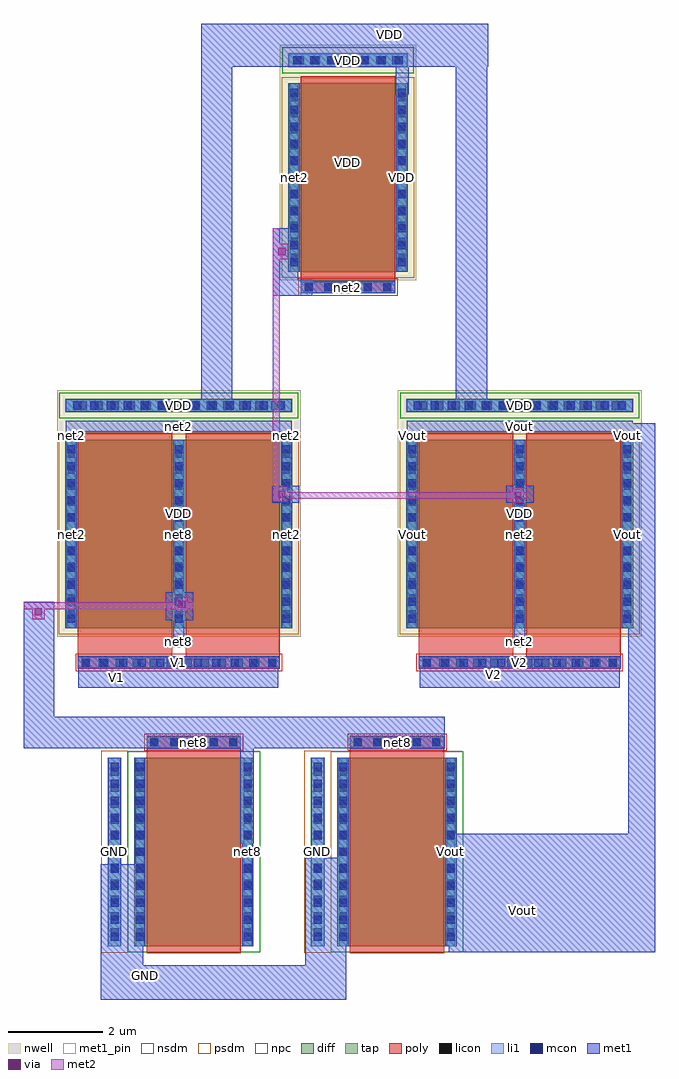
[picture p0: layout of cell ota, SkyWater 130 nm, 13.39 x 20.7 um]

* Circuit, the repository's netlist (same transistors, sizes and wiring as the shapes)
** sch_path: /foss/designs/ota.sch
.subckt ota VDD V2 V1 Vout GND
*.PININFO VDD:B GND:B V2:I V1:I Vout:O
XM1 net2 V1 net1 VDD sky130_fd_pr__pfet_01v8 L=2 W=8 nf=2 m=1
XM3 net2 net2 GND GND sky130_fd_pr__nfet_01v8 L=2 W=4 nf=1 m=1
XM4 Vout net2 GND GND sky130_fd_pr__nfet_01v8 L=2 W=4 nf=1 m=1
XM2 Vout V2 net1 VDD sky130_fd_pr__pfet_01v8 L=2 W=8 nf=2 m=1
XM5 net1 net1 VDD VDD sky130_fd_pr__pfet_01v8 L=2 W=4 nf=1 m=1
**** begin user architecture code

**** end user architecture code
.ends

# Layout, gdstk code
import gdstk
lib = gdstk.Library(unit=1e-6, precision=1e-09)
def R(c, l, rs):  # rectangles x0, y0, x1, y1
    for r in rs: c.add(gdstk.rectangle(r[:2], r[2:], *l))
def A(c, l, x, y, w, h, nx, ny, dx, dy):  # array of equal rectangles
    R(c, l, [(x+i*dx, y+j*dy, x+i*dx+w, y+j*dy+h) for i in range(nx) for j in range(ny)])
nwell = (64, 20)
diff = (65, 20)
tap = (65, 44)
poly = (66, 20)
licon = (66, 44)
li1 = (67, 20)
mcon = (67, 44)
met1_pin = (68, 16)
met1 = (68, 20)
via = (68, 44)
met2 = (69, 20)
nsdm = (93, 44)
psdm = (94, 20)
npc = (95, 20)

m1m2_c_cdns_778492042130 = lib.new_cell('M1M2_C_CDNS_778492042130')
R(m1m2_c_cdns_778492042130, met1, [(-0.13,-0.16,0.13,0.16)])
R(m1m2_c_cdns_778492042130, via, [(-0.075,-0.075,0.075,0.075)])
R(m1m2_c_cdns_778492042130, met2, [(-0.13,-0.16,0.13,0.16)])

ota = lib.new_cell('ota')
R(ota, nwell, [(1.19,7.905,6.36,13.135), (8.415,7.905,13.585,13.135), (5.915,15.465,8.805,20.455)])
R(ota, diff, [(2.825,1.345,3.09,5.345), (3.09,1.345,5.09,5.345), (5.09,1.345,5.355,5.345), (7.135,1.345,7.4,5.345), (7.4,1.345,9.4,5.345), (9.4,1.345,9.665,5.345), (1.37,8.085,1.635,12.085), (1.635,8.085,3.635,12.085), (3.635,8.085,3.915,12.085), (3.915,8.085,5.915,12.085), (5.915,8.085,6.18,12.085), (8.595,8.085,8.86,12.085), (8.86,8.085,10.86,12.085), (10.86,8.085,11.14,12.085), (11.14,8.085,13.14,12.085), (13.14,8.085,13.405,12.085), (6.095,15.645,6.36,19.645), (6.36,15.645,8.36,19.645), (8.36,15.645,8.625,19.645)])
R(ota, tap, [(2.265,1.345,2.555,5.345), (6.575,1.345,6.865,5.345), (1.37,12.665,6.18,12.955), (8.595,12.665,13.405,12.955), (6.095,19.985,8.625,20.275)])
R(ota, poly, [(3.09,1.195,5.09,1.345), (7.4,1.195,9.4,1.345), (3.09,1.345,5.09,5.345), (7.4,1.345,9.4,5.345), (3.09,5.345,5.09,5.535), (7.4,5.345,9.4,5.535), (3.09,5.535,5.09,5.805), (7.4,5.535,9.4,5.805), (1.635,7.225,5.915,7.495), (8.86,7.225,13.14,7.495), (1.635,7.495,3.635,8.085), (3.915,7.495,5.915,8.085), (8.86,7.495,10.86,8.085), (11.14,7.495,13.14,8.085), (1.635,8.085,3.635,12.085), (3.915,8.085,5.915,12.085), (8.86,8.085,10.86,12.085), (11.14,8.085,13.14,12.085), (1.635,12.085,3.635,12.235), (3.915,12.085,5.915,12.235), (8.86,12.085,10.86,12.235), (11.14,12.085,13.14,12.235), (6.36,15.185,8.36,15.455), (6.36,15.455,8.36,15.645), (6.36,15.645,8.36,19.645), (6.36,19.645,8.36,19.795)])
A(ota, licon, 2.325, 1.56, 0.17, 0.17, 1, 11, 0, 0.34)
A(ota, licon, 2.865, 1.56, 0.17, 0.17, 1, 11, 0, 0.34)
A(ota, licon, 5.145, 1.56, 0.17, 0.17, 1, 11, 0, 0.34)
A(ota, licon, 6.635, 1.56, 0.17, 0.17, 1, 11, 0, 0.34)
A(ota, licon, 7.175, 1.56, 0.17, 0.17, 1, 11, 0, 0.34)
A(ota, licon, 9.455, 1.56, 0.17, 0.17, 1, 11, 0, 0.34)
A(ota, licon, 3.17, 5.585, 0.17, 0.17, 3, 1, 0.42, 0)
A(ota, licon, 7.48, 5.585, 0.17, 0.17, 3, 1, 0.42, 0)
A(ota, licon, 1.715, 7.275, 0.17, 0.17, 10, 1, 0.36, 0)
A(ota, licon, 8.94, 7.275, 0.17, 0.17, 10, 1, 0.36, 0)
A(ota, licon, 1.41, 8.3, 0.17, 0.17, 3, 11, 2.28, 0.34)
A(ota, licon, 8.635, 8.3, 0.17, 0.17, 3, 11, 2.28, 0.34)
A(ota, licon, 1.65, 12.725, 0.17, 0.17, 13, 1, 0.34, 0)
A(ota, licon, 8.875, 12.725, 0.17, 0.17, 13, 1, 0.34, 0)
A(ota, licon, 6.44, 15.235, 0.17, 0.17, 3, 1, 0.42, 0)
A(ota, licon, 6.135, 15.86, 0.17, 0.17, 1, 11, 0, 0.34)
A(ota, licon, 8.415, 15.86, 0.17, 0.17, 1, 11, 0, 0.34)
A(ota, licon, 6.255, 20.045, 0.17, 0.17, 7, 1, 0.34, 0)
R(ota, licon, [(4.425,5.585,4.595,5.755), (4.84,5.585,5.01,5.755), (8.735,5.585,8.905,5.755), (9.15,5.585,9.32,5.755), (5.31,7.275,5.48,7.445), (5.665,7.275,5.835,7.445), (12.535,7.275,12.705,7.445), (12.89,7.275,13.06,7.445), (7.695,15.235,7.865,15.405), (8.11,15.235,8.28,15.405)])
A(ota, li1, 1.41, 8.085, 0.17, 4, 3, 1, 2.28, 0)
A(ota, li1, 8.635, 8.085, 0.17, 4, 3, 1, 2.28, 0)
R(ota, li1, [(2.275,1.345,2.545,5.345), (2.865,1.345,3.035,5.345), (5.145,1.345,5.315,5.345), (6.585,1.345,6.855,5.345), (7.175,1.345,7.345,5.345), (9.455,1.345,9.625,5.345), (3.09,5.555,5.09,5.785), (7.4,5.555,9.4,5.785), (1.635,7.245,5.915,7.475), (8.86,7.245,13.14,7.475), (1.38,12.675,6.17,12.945), (8.605,12.675,13.395,12.945), (6.36,15.205,8.36,15.435), (6.135,15.645,6.305,19.645), (8.415,15.645,8.585,19.645), (6.105,19.995,8.615,20.265)])
A(ota, mcon, 2.325, 1.46, 0.17, 0.17, 1, 11, 0, 0.36)
A(ota, mcon, 2.865, 1.46, 0.17, 0.17, 1, 11, 0, 0.36)
A(ota, mcon, 5.145, 1.46, 0.17, 0.17, 1, 11, 0, 0.36)
A(ota, mcon, 6.635, 1.46, 0.17, 0.17, 1, 11, 0, 0.36)
A(ota, mcon, 7.175, 1.46, 0.17, 0.17, 1, 11, 0, 0.36)
A(ota, mcon, 9.455, 1.46, 0.17, 0.17, 1, 11, 0, 0.36)
A(ota, mcon, 3.17, 5.585, 0.17, 0.17, 3, 1, 0.42, 0)
A(ota, mcon, 7.48, 5.585, 0.17, 0.17, 3, 1, 0.42, 0)
A(ota, mcon, 1.715, 7.275, 0.17, 0.17, 11, 1, 0.395, 0)
A(ota, mcon, 8.94, 7.275, 0.17, 0.17, 11, 1, 0.395, 0)
A(ota, mcon, 1.41, 8.2, 0.17, 0.17, 3, 11, 2.28, 0.36)
A(ota, mcon, 8.635, 8.2, 0.17, 0.17, 3, 11, 2.28, 0.36)
A(ota, mcon, 1.53, 12.725, 0.17, 0.17, 13, 1, 0.36, 0)
A(ota, mcon, 8.755, 12.725, 0.17, 0.17, 13, 1, 0.36, 0)
A(ota, mcon, 6.44, 15.235, 0.17, 0.17, 3, 1, 0.42, 0)
A(ota, mcon, 6.135, 15.76, 0.17, 0.17, 1, 11, 0, 0.36)
A(ota, mcon, 8.415, 15.76, 0.17, 0.17, 1, 11, 0, 0.36)
A(ota, mcon, 6.195, 20.045, 0.17, 0.17, 7, 1, 0.36, 0)
R(ota, mcon, [(4.425,5.585,4.595,5.755), (4.84,5.585,5.01,5.755), (8.735,5.585,8.905,5.755), (9.15,5.585,9.32,5.755), (7.695,15.235,7.865,15.405), (8.11,15.235,8.28,15.405)])
R(ota, met1_pin, [(3.005,0.66,3.145,0.8), (10.99,2.025,11.13,2.165), (2.335,6.93,2.565,7.175), (10.365,7.04,10.505,7.18), (8.185,20.63,8.3,20.725)])
A(ota, met1, 1.38, 8.085, 0.23, 4, 3, 1, 2.28, 0)
A(ota, met1, 8.605, 8.085, 0.23, 4, 3, 1, 2.28, 0)
R(ota, met1, [(2.12,0.215,7.32,0.945), (2.12,0.555,3.02,3.08), (6.455,0.555,7.32,3.22), (9.495,1.215,13.875,3.73), (13.3,1.215,13.875,12.435), (2.275,1.345,2.545,5.345), (2.835,1.345,3.065,5.345), (5.115,1.345,5.345,5.345), (6.585,1.345,6.855,5.345), (7.145,1.345,7.375,5.345), (9.425,1.345,9.655,5.345), (5.075,3.525,5.36,6.08), (3.09,5.535,5.09,5.805), (7.4,5.535,9.4,5.805), (0.485,5.54,1.13,8.645), (0.485,5.54,9.41,6.21), (1.645,6.825,5.885,7.465), (8.88,6.825,13.12,7.465), (1.635,7.225,5.915,7.495), (8.86,7.225,13.14,7.495), (3.66,7.685,3.89,7.915), (10.885,7.685,11.115,7.915), (3.66,7.915,3.89,8.085), (10.885,7.915,11.115,8.085), (3.5,8.26,4.075,8.855), (5.755,10.75,6.33,11.11), (10.72,10.75,11.295,11.11), (1.38,12.085,1.61,12.255), (5.94,12.085,6.17,12.255), (8.605,12.085,8.835,12.255), (13.165,12.085,13.395,12.255), (1.38,12.255,6.17,12.485), (8.605,12.255,13.395,12.485), (1.38,12.675,6.17,12.945), (8.605,12.675,13.395,12.945), (4.245,12.685,4.91,20.905), (9.645,12.69,10.31,20.91), (5.76,15.14,6.605,15.475), (5.76,15.14,6.305,16.565), (6.36,15.185,8.36,15.455), (6.105,15.645,6.335,19.645), (8.385,15.645,8.615,19.645), (8.375,19.415,8.65,20.375), (4.245,19.995,10.335,20.91), (6.105,19.995,8.615,20.265)])
R(ota, met2, [(0.485,8.495,4.075,8.64), (5.76,10.765,5.915,16.565), (5.785,10.83,11.15,10.975)])
R(ota, nsdm, [(2.685,1.215,5.495,5.475), (6.995,1.215,9.805,5.475), (1.24,12.535,6.31,13.085), (8.465,12.535,13.535,13.085), (5.965,19.855,8.755,20.405)])
R(ota, psdm, [(2.125,1.205,2.695,5.485), (6.435,1.205,7.005,5.485), (1.23,7.955,6.32,12.215), (8.455,7.955,13.545,12.215), (5.955,15.515,8.765,19.775)])
R(ota, npc, [(3.04,5.485,5.14,5.855), (7.35,5.485,9.45,5.855), (1.585,7.175,5.965,7.545), (8.81,7.175,13.19,7.545), (6.31,15.135,8.41,15.505)])
ota.add(gdstk.Reference(m1m2_c_cdns_778492042130, (0.795,8.44)))
ota.add(gdstk.Reference(m1m2_c_cdns_778492042130, (5.95,10.93)))
ota.add(gdstk.Reference(m1m2_c_cdns_778492042130, (10.96,10.91)))
ota.add(gdstk.Reference(m1m2_c_cdns_778492042130, (5.96,16.075)))
ota.add(gdstk.Reference(m1m2_c_cdns_778492042130, (3.835,8.595)))
ota.add(gdstk.Label('VDD', (7.36,17.96), layer=64, texttype=20))
ota.add(gdstk.Label('VDD', (3.775,10.52), layer=64, texttype=20))
ota.add(gdstk.Label('VDD', (11,10.52), layer=64, texttype=20))
ota.add(gdstk.Label('V1', (2.45,7.052), layer=68, texttype=16))
ota.add(gdstk.Label('V2', (10.435,7.11), layer=68, texttype=16))
ota.add(gdstk.Label('GND', (3.075,0.73), layer=68, texttype=16))
ota.add(gdstk.Label('Vout', (11.06,2.095), layer=68, texttype=16))
ota.add(gdstk.Label('VDD', (8.242,20.677), layer=68, texttype=16))
ota.add(gdstk.Label('VDD', (7.36,20.13), layer=68, texttype=20))
ota.add(gdstk.Label('net2', (7.36,15.32), layer=68, texttype=20))
ota.add(gdstk.Label('VDD', (8.5,17.645), layer=68, texttype=20))
ota.add(gdstk.Label('net2', (6.22,17.645), layer=68, texttype=20))
ota.add(gdstk.Label('GND', (2.41,3.345), layer=68, texttype=20))
ota.add(gdstk.Label('net8', (4.09,5.67), layer=68, texttype=20))
ota.add(gdstk.Label('net8', (5.23,3.345), layer=68, texttype=20))
ota.add(gdstk.Label('GND', (2.95,3.345), layer=68, texttype=20))
ota.add(gdstk.Label('GND', (6.72,3.345), layer=68, texttype=20))
ota.add(gdstk.Label('net8', (8.4,5.67), layer=68, texttype=20))
ota.add(gdstk.Label('Vout', (9.54,3.345), layer=68, texttype=20))
ota.add(gdstk.Label('GND', (7.26,3.345), layer=68, texttype=20))
ota.add(gdstk.Label('VDD', (3.775,12.81), layer=68, texttype=20))
ota.add(gdstk.Label('V1', (3.775,7.36), layer=68, texttype=20))
ota.add(gdstk.Label('net8', (3.775,7.8), layer=68, texttype=20))
ota.add(gdstk.Label('net8', (3.775,8), layer=68, texttype=20))
ota.add(gdstk.Label('net8', (3.775,10.085), layer=68, texttype=20))
ota.add(gdstk.Label('net2', (3.775,12.37), layer=68, texttype=20))
ota.add(gdstk.Label('net2', (6.055,12.17), layer=68, texttype=20))
ota.add(gdstk.Label('net2', (1.495,12.17), layer=68, texttype=20))
ota.add(gdstk.Label('net2', (6.055,10.085), layer=68, texttype=20))
ota.add(gdstk.Label('net2', (1.495,10.085), layer=68, texttype=20))
ota.add(gdstk.Label('VDD', (11,12.81), layer=68, texttype=20))
ota.add(gdstk.Label('V2', (11,7.36), layer=68, texttype=20))
ota.add(gdstk.Label('net2', (11,7.8), layer=68, texttype=20))
ota.add(gdstk.Label('net2', (11,8), layer=68, texttype=20))
ota.add(gdstk.Label('net2', (11,10.085), layer=68, texttype=20))
ota.add(gdstk.Label('Vout', (11,12.37), layer=68, texttype=20))
ota.add(gdstk.Label('Vout', (13.28,12.17), layer=68, texttype=20))
ota.add(gdstk.Label('Vout', (8.72,12.17), layer=68, texttype=20))
ota.add(gdstk.Label('Vout', (13.28,10.085), layer=68, texttype=20))
ota.add(gdstk.Label('Vout', (8.72,10.085), layer=68, texttype=20))
ota.add(gdstk.Label('net2', (7.36,15.32), layer=67, texttype=20))
ota.add(gdstk.Label('GND', (2.41,3.345), layer=67, texttype=20))
ota.add(gdstk.Label('net8', (4.09,5.67), layer=67, texttype=20))
ota.add(gdstk.Label('GND', (6.72,3.345), layer=67, texttype=20))
ota.add(gdstk.Label('net8', (8.4,5.67), layer=67, texttype=20))
ota.add(gdstk.Label('V1', (3.775,7.36), layer=67, texttype=20))
ota.add(gdstk.Label('V2', (11,7.36), layer=67, texttype=20))
ota.add(gdstk.Label('VDD', (8.492,17.645), layer=65, texttype=20))
ota.add(gdstk.Label('net2', (6.227,17.645), layer=65, texttype=20))
ota.add(gdstk.Label('net8', (5.222,3.345), layer=65, texttype=20))
ota.add(gdstk.Label('GND', (2.957,3.345), layer=65, texttype=20))
ota.add(gdstk.Label('Vout', (9.532,3.345), layer=65, texttype=20))
ota.add(gdstk.Label('GND', (7.267,3.345), layer=65, texttype=20))
ota.add(gdstk.Label('net2', (6.047,10.085), layer=65, texttype=20))
ota.add(gdstk.Label('net2', (1.502,10.085), layer=65, texttype=20))
ota.add(gdstk.Label('Vout', (13.272,10.085), layer=65, texttype=20))
ota.add(gdstk.Label('Vout', (8.727,10.085), layer=65, texttype=20))

lib.write_gds('ota.gds')
